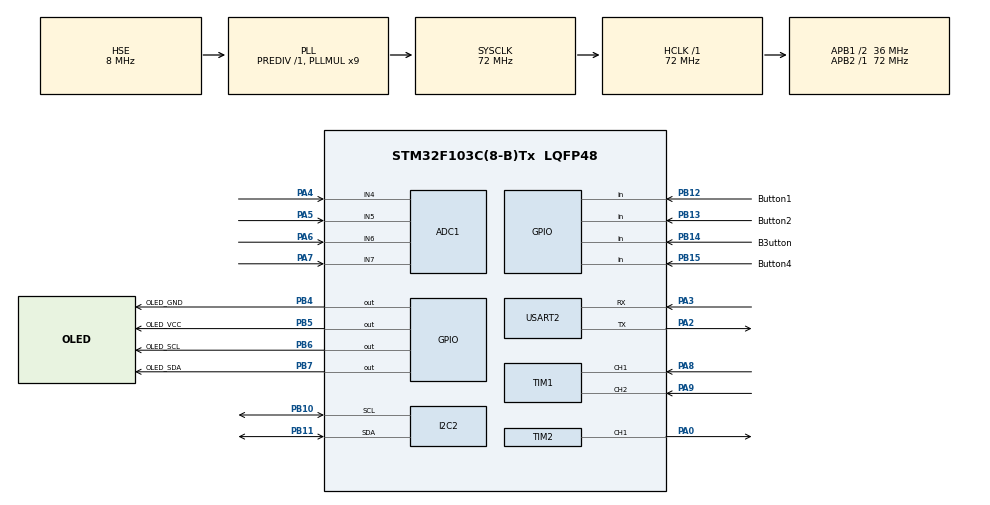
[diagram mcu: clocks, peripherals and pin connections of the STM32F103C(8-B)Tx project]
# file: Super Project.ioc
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ADC1.Channel-1\#ChannelRegularConversion=ADC_CHANNEL_4
ADC1.Channel-2\#ChannelRegularConversion=ADC_CHANNEL_5
ADC1.Channel-3\#ChannelRegularConversion=ADC_CHANNEL_6
ADC1.Channel-4\#ChannelRegularConversion=ADC_CHANNEL_7
ADC1.NbrOfConversion=4
ADC1.NbrOfConversionFlag=1
ADC1.Rank-1\#ChannelRegularConversion=1
ADC1.Rank-2\#ChannelRegularConversion=2
ADC1.Rank-3\#ChannelRegularConversion=3
ADC1.Rank-4\#ChannelRegularConversion=4
ADC1.SamplingTime-1\#ChannelRegularConversion=ADC_SAMPLETIME_1CYCLE_5
ADC1.SamplingTime-2\#ChannelRegularConversion=ADC_SAMPLETIME_1CYCLE_5
ADC1.SamplingTime-3\#ChannelRegularConversion=ADC_SAMPLETIME_1CYCLE_5
ADC1.SamplingTime-4\#ChannelRegularConversion=ADC_SAMPLETIME_1CYCLE_5
ADC1.master=1
Dma.ADC1.0.Direction=DMA_PERIPH_TO_MEMORY
Dma.ADC1.0.Instance=DMA1_Channel1
Dma.ADC1.0.MemDataAlignment=DMA_MDATAALIGN_HALFWORD
Dma.ADC1.0.MemInc=DMA_MINC_ENABLE
Dma.ADC1.0.Mode=DMA_NORMAL
Dma.ADC1.0.PeriphDataAlignment=DMA_PDATAALIGN_HALFWORD
Dma.ADC1.0.PeriphInc=DMA_PINC_DISABLE
Dma.ADC1.0.Priority=DMA_PRIORITY_LOW
Dma.Request0=ADC1
FREERTOS.BinarySemaphores01=ADCTask_sem,Dynamic,NULL,Available;MPUTask_sem,Dynamic,NULL,Available
FREERTOS.Queues01=ButtonNum_queue,16,uint16_t,0,Dynamic,NULL,NULL
FREERTOS.Tasks01=defaultTask,24,128,StartDefaultTask,Default,NULL,Dynamic,NULL,NULL;OLED_SelectTask,8,128,StartTask02,Default,NULL,Dynamic,NULL,NULL;ADC_ReadTask,24,128,StartTask03,Default,NULL,Dynamic,NULL,NULL;MPU_ReadTask,24,128,StartTask04,Default,NULL,Dynamic,NULL,NULL;Button_ReadTask,24,128,StartTask05,Default,NULL,Dynamic,NULL,NULL
FREERTOS.configTOTAL_HEAP_SIZE=4096
IWDG.Prescaler=IWDG_PRESCALER_64
Mcu.Family=STM32F1
Mcu.Name=STM32F103C(8-B)Tx
Mcu.Package=LQFP48
NVIC.DMA1_Channel1_IRQn=true\:5\:0\:false\:false\:true\:true\:false\:true\:true
NVIC.PriorityGroup=NVIC_PRIORITYGROUP_4
NVIC.TIM3_IRQn=true\:15\:0\:false\:false\:true\:false\:false\:true\:true
NVIC.TimeBase=TIM3_IRQn
NVIC.TimeBaseIP=TIM3
PA0-WKUP.Signal=S_TIM2_CH1_ETR
PA13.Mode=Serial_Wire
PA13.Signal=SYS_JTMS-SWDIO
PA14.Mode=Serial_Wire
PA14.Signal=SYS_JTCK-SWCLK
PA2.Mode=Asynchronous
PA2.Signal=USART2_TX
PA3.Mode=Asynchronous
PA3.Signal=USART2_RX
PA4.Signal=ADCx_IN4
PA5.Signal=ADCx_IN5
PA6.Signal=ADCx_IN6
PA7.Signal=ADCx_IN7
PA8.Signal=S_TIM1_CH1
PA9.Signal=S_TIM1_CH2
PB10.Mode=I2C
PB10.Signal=I2C2_SCL
PB11.Mode=I2C
PB11.Signal=I2C2_SDA
PB12.GPIO_Label=Button1
PB12.GPIO_PuPd=GPIO_PULLUP
PB12.Signal=GPIO_Input
PB13.GPIO_Label=Button2
PB13.GPIO_PuPd=GPIO_PULLUP
PB13.Signal=GPIO_Input
PB14.GPIO_Label=B3utton
PB14.GPIO_PuPd=GPIO_PULLUP
PB14.Signal=GPIO_Input
PB15.GPIO_Label=Button4
PB15.GPIO_PuPd=GPIO_PULLUP
PB15.Signal=GPIO_Input
PB4.GPIO_Label=OLED_GND
PB4.Signal=GPIO_Output
PB5.GPIO_Label=OLED_VCC
PB5.PinState=GPIO_PIN_SET
PB5.Signal=GPIO_Output
PB6.GPIO_Label=OLED_SCL
PB6.GPIO_ModeDefaultOutputPP=GPIO_MODE_OUTPUT_OD
PB6.GPIO_PuPd=GPIO_NOPULL
PB6.GPIO_Speed=GPIO_SPEED_FREQ_HIGH
PB6.PinState=GPIO_PIN_SET
PB6.Signal=GPIO_Output
PB7.GPIO_Label=OLED_SDA
PB7.GPIO_ModeDefaultOutputPP=GPIO_MODE_OUTPUT_OD
PB7.GPIO_PuPd=GPIO_NOPULL
PB7.GPIO_Speed=GPIO_SPEED_FREQ_HIGH
PB7.PinState=GPIO_PIN_SET
PB7.Signal=GPIO_Output
PC14-OSC32_IN.Mode=LSE-External-Oscillator
PC14-OSC32_IN.Signal=RCC_OSC32_IN
PC15-OSC32_OUT.Mode=LSE-External-Oscillator
PC15-OSC32_OUT.Signal=RCC_OSC32_OUT
PD0-OSC_IN.Mode=HSE-External-Oscillator
PD0-OSC_IN.Signal=RCC_OSC_IN
PD1-OSC_OUT.Mode=HSE-External-Oscillator
PD1-OSC_OUT.Signal=RCC_OSC_OUT
ProjectManager.HeapSize=0x200
ProjectManager.StackSize=0x400
ProjectManager.TargetToolchain=MDK-ARM V5
RCC.ADCPresc=RCC_ADCPCLK2_DIV6
RCC.AHBFreq_Value=72000000
RCC.APB1CLKDivider=RCC_HCLK_DIV2
RCC.APB1Freq_Value=36000000
RCC.APB1TimFreq_Value=72000000
RCC.APB2Freq_Value=72000000
RCC.APB2TimFreq_Value=72000000
RCC.HCLKFreq_Value=72000000
RCC.PLLMUL=RCC_PLL_MUL9
RCC.PLLSourceVirtual=RCC_PLLSOURCE_HSE
RCC.SYSCLKFreq_VALUE=72000000
RCC.SYSCLKSource=RCC_SYSCLKSOURCE_PLLCLK
RCC.USBFreq_Value=72000000
SH.ADCx_IN4.0=ADC1_IN4,IN4
SH.ADCx_IN5.0=ADC1_IN5,IN5
SH.ADCx_IN6.0=ADC1_IN6,IN6
SH.ADCx_IN7.0=ADC1_IN7,IN7
SH.S_TIM1_CH1.0=TIM1_CH1,Encoder_Interface
SH.S_TIM1_CH2.0=TIM1_CH2,Encoder_Interface
SH.S_TIM2_CH1_ETR.0=TIM2_CH1,PWM Generation1 CH1
TIM1.IC2Polarity=TIM_ICPOLARITY_RISING
TIM2.Channel-PWM\ Generation1\ CH1=TIM_CHANNEL_1
TIM2.Period=20000
TIM2.Prescaler=72
TIM2.Pulse-PWM\ Generation1\ CH1=500
USART2.VirtualMode=VM_ASYNC
VP_FREERTOS_VS_CMSIS_V2.Mode=CMSIS_V2
VP_IWDG_VS_IWDG.Mode=IWDG_Activate
VP_SYS_VS_tim3.Mode=TIM3
VP_TIM2_VS_ClockSourceINT.Mode=Internal
board=custom

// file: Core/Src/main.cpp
/* USER CODE BEGIN Header */
/**
  ******************************************************************************
  * @file           : main.c
  * @brief          : Main program body
  ******************************************************************************
  * @attention
  *
  * Copyright (c) 2026 STMicroelectronics.
  * All rights reserved.
  *
  * This software is licensed under terms that can be found in the LICENSE file
  * in the root directory of this software component.
  * If no LICENSE file comes with this software, it is provided AS-IS.
  *
  ******************************************************************************
  */
/* USER CODE END Header */
extern "C" {
  #include "main.h"
	#include "adc.h"
	#include "dma.h"
	#include "i2c.h"
	#include "tim.h"
	#include "usart.h"
	#include "gpio.h"
	#include "iwdg.h"
	#include "OLED.h"
	#include "IIC_Hardware.h"
	#include <stdio.h>
	#include <string.h>
	#include <math.h>
}

/* USER CODE BEGIN Includes */

//#include "OLED_Font.h"
/* USER CODE END Includes */

extern "C"{
void SystemClock_Config(void);
void MX_FREERTOS_Init(void);
}

/* USER CODE BEGIN PFP */
uint8_t usart_data[128]={'1'};
uint8_t usart_data1[128]={'1'};
uint8_t usart_reflag =0;
uint8_t usart_reflag1 =0;
extern union {
	 uint8_t OLEDPicture_8[128][8];
	 uint64_t OLEDPicture_64[128];
 }OLEDPicture_total;
extern int16_t OLED_Sample_value[128][4];
/* USER CODE END PFP */

/* USER CODE BEGIN 0 */
// 重启原因枚举
typedef enum {
    RESET_POR = 0,    // 上电复位
    RESET_PIN,        // 复位脚复位
    RESET_IWDG,       // 独立看门狗 IWDG
    RESET_WWDG,       // 窗口看门狗 WWDG
    RESET_SOFT,       // 软件复位
    RESET_UNKNOWN     // 未知
} Reset_Cause_t;

Reset_Cause_t Reset_Cause = RESET_UNKNOWN;

const char Reset_Show[6][15]={
    "RESET_POR",
    "RESET_PIN",
    "RESET_IWDG",
    "RESET_WWDG",
    "RESET_SOFT",
    "RESET_UNKNOWN"
};
// 获取复位原因（必须在 HAL 初始化之前调用！）
void Check_Reset_Reason(void)
{
    if (__HAL_RCC_GET_FLAG(RCC_FLAG_IWDGRST))
    {
        Reset_Cause = RESET_IWDG;  // IWDG 复位
    }
    else if (__HAL_RCC_GET_FLAG(RCC_FLAG_WWDGRST))
    {
        Reset_Cause = RESET_WWDG;  // WWDG 复位
    }
    else if (__HAL_RCC_GET_FLAG(RCC_FLAG_PINRST))
    {
        Reset_Cause = RESET_PIN;   // 复位按键
    }
    else if (__HAL_RCC_GET_FLAG(RCC_FLAG_PORRST))
    {
        Reset_Cause = RESET_POR;   // 上电
    }
    else if (__HAL_RCC_GET_FLAG(RCC_FLAG_SFTRST))
    {
        Reset_Cause = RESET_SOFT;  // 软件复位
    }
    else
    {
        Reset_Cause = RESET_UNKNOWN;
    }

    // 清除所有复位标志（必须清！否则下次判断错误）
    __HAL_RCC_CLEAR_RESET_FLAGS();
}

//uint32_t a=1,b=5;
//char ch_library[4][16] __attribute__((aligned(32))) = {0};//
//int fputc(int ch, FILE *f){
//  uint8_t temp[1] = {ch};
//  HAL_UART_Transmit(&huart2, temp, 1, 0);
//	if(ch=='\n'){
//		if(a!=1){
//			a=15;
//		}else{
//			a=0;
//		}
//	}else{
//		ch_library[(b-1)%4][a-1]=ch;
//		OLED_ShowChar(4,a,(char)ch);
//	}
//	if(a<15){
//		a++;
//	}else{
//		OLED_Clear();
//		b++;
//		for(a=0;a<=15;a++){
//			ch_library[(b-1)%4][a]=0;
//		}
//		a=1;
//	}
//	if(a==1){
//		OLED_ShowString(1,1,ch_library[(b)%4]);
//		OLED_ShowString(2,1,ch_library[(b+1)%4]);
//		OLED_ShowString(3,1,ch_library[(b+2)%4]);
//	}
//		HAL_Delay(50);
//    return ch;
//}

//小字版打印
const uint8_t rowsum=8;
uint32_t a=1,b=5;
char ch_library[rowsum][16] __attribute__((aligned(32))) = {0};//
int fputc(int ch, FILE *f){
  uint8_t temp[1] = {ch};
  HAL_UART_Transmit(&huart2, temp, 1, 0);
	if(ch=='\n'){
		if(a!=1){
			a=15;
		}else{
			a=0;
		}
	}else{
		ch_library[(b-1)%rowsum][a-1]=ch;
		OLED_ShowMinChar(rowsum,a,(char)ch);
	}
	if(a<15){
		a++;
	}else{
		OLED_Clear();
		b++;
		for(a=0;a<=15;a++){
			ch_library[(b-1)%rowsum][a]=0;
		}
		a=1;
	}
	if(a==1){
		for(int show_num=0;show_num<rowsum;show_num++)
		{
			OLED_ShowMinString(show_num+1,1,ch_library[(b+show_num)%rowsum]);
		}
	}
		HAL_Delay(50);
    return ch;
}

/* USER CODE END 0 */

int main(void)
{

  /* USER CODE BEGIN 1 */
	__enable_irq();//��Ϊappʱ���bootload����
  Check_Reset_Reason();
  /* USER CODE END 1 */

  /* MCU Configuration--------------------------------------------------------*/

  /* Reset of all peripherals, Initializes the Flash interface and the Systick. */
  HAL_Init();

  /* Configure the system clock */
  SystemClock_Config();

  /* Initialize all configured peripherals */
  MX_GPIO_Init();
  MX_DMA_Init();
  MX_ADC1_Init();
  MX_USART2_UART_Init();
  MX_TIM1_Init();
  MX_TIM2_Init();
  MX_I2C2_Init();
  //MX_IWDG_Init();
  /* USER CODE BEGIN 2 */
  OLED_Init();
	IIC1_Init();
  //MX_IWDG_Init();
  __HAL_RCC_PWR_CLK_ENABLE();
  lprintf("[App]:Freertos begin %d\n",HAL_GetTick());
  printf("Reset for %s \n",Reset_Show[Reset_Cause]);
  /* USER CODE END 2 */

  /* Init scheduler */
  //osKernelInitialize();  /* Call init function for freertos objects (in cmsis_os2.c) */
  //MX_FREERTOS_Init();

  /* Start scheduler */
  //osKernelStart();

  /* We should never get here as control is now taken by the scheduler */

  /* Infinite loop */
  /* USER CODE BEGIN WHILE */
	//OLED_Clear();
	int a=32;
	int a_a=1;
	int b=0;
	int b_b=6;
	int x=1,y=1,angle=0,middle=0;
	int x1_r=0,y1_r=0,x2_r=0,y2_r=0,x3_r=0,y3_r=0,x4_r=0,y4_r=0;
	int fps,count;
	int biankuang=4;
	int dsb =10;
	uint16_t adc_num[4]={0};
	int h,m,s=30;
//	for(int i=0;i<314;i++)
//	{
//		OLED_Sample_value[i]=(int16_t)(sin(i*0.1)*y);
//	}
	uint8_t z=0;
	//HAL_ADC_Start_DMA(&hadc1,(uint32_t *)OLED_Sample_value[0],4);
  while (1)
  {
		HAL_ADC_Start_DMA(&hadc1,(uint32_t *)OLED_Sample_value[z++],4);
		memset(OLEDPicture_total.OLEDPicture_8[0],0x00,1024);
		//OLED_AMPDrawARatateWord(16,16,b,'B',OLED_White,1);
//		OLED_DrawARatateString(x,y,angle,(char *)usart_data1+1,OLED_White);
//		rotate_point(x+4*strlen((char *)usart_data1+1),y+8,angle,x,y,&x1_r,&y1_r);
//		rotate_point(x+4*strlen((char *)usart_data1+1),y+8,angle,x,y+16,&x2_r,&y2_r);
//		rotate_point(x+4*strlen((char *)usart_data1+1),y+8,angle,x+8*strlen((char *)usart_data1+1),y+16,&x3_r,&y3_r);
//		rotate_point(x+4*strlen((char *)usart_data1+1),y+8,angle,x+8*strlen((char *)usart_data1+1),y,&x4_r,&y4_r);
//		OLED_DrawAquard(x1_r,y1_r,x2_r,y2_r,x3_r,y3_r,x4_r,y4_r,OLED_Contr);
		OLED_DrawALine(x,64,32,0,OLED_White);
		OLEDMin_DrawANum(0,56,fps,2,OLED_White);
		OLED_DrawAClock(0,m,s);
		//HAL_ADC_Start_DMA(&hadc1,(uint32_t *)OLED_Sample_value[0],512);
//		OLED_DrawAquard(0,0,0,64,128,64,128,0,OLED_White);
//		OLED_DrawAquard(0,0,0,0,128,64,128,64,OLED_White);
//		OLED_DrawAquard(0+biankuang,0+2*biankuang,0+biankuang,64-biankuang,128-biankuang,64-biankuang,128-biankuang,0+2*biankuang,OLED_Black);
//		OLED_DrawAquard(0,0,0,0,128,64,128,64,OLED_White);
//		OLED_DrawAquard(8,0,9,0,9,64,9,64,OLED_White);
//		for(int i=0;i<5;i++)
//		{
//			OLED_DrawAquard(8,8+i*16,9,9+i*16,128,9+i*16,128,8+i*16,OLED_White);
//		}
//
		//OLED_DrawAquard(8,24,9,25,128,25,128,24,OLED_White);

//		OLED_DrawARound(64,36,20,0,OLED_White);
//		OLED_DrawAPolygon(64,36,4,30,-90,OLED_White);
//		OLED_DrawARound(64,36,20,19,OLED_White);
//		OLED_DrawARound(64,36,30,29,OLED_White);
		//OLED_DrawAString(32,48,"Warrning",OLED_White);
//		OLEDMin_DrawARatateWord(60,9,90,'M',OLED_Contr);
//		OLEDMin_DrawARatateWord(44,16,40,'B',OLED_Contr);
//		OLEDMin_DrawARatateWord(78,18,140,'W',OLED_Contr);

//		OLED_DrawARound(32,40,4,OLED_White);
//		OLED_DrawARound(96,40,4,OLED_White);
//		OLED_DrawAquard(32,36,
//										96,36,
//										96,44,
//										32,44,OLED_White);

//		OLED_DrawARound(32,40,2,OLED_Black);
//		OLED_DrawARound(96,40,2,OLED_Black);
//		OLED_DrawAquard(32,38,
//										96,38,
//										96,42,
//										32,42,OLED_Black);

//		OLED_DrawARound(a,40,2,OLED_White);
//		OLED_DrawARound(96,40,2,OLED_White);
//		OLED_DrawAquard(a ,38,
//										96,38,
//										96,42,
//										a ,42,OLED_White);
		//OLED_DrawAAixs();

		fps=1000/(HAL_GetTick()-count);
		count=HAL_GetTick();

		OLED_ShowPicture();
		if(usart_data1[0]=='t')
		{
			if(y>0)
			y--;
		}else if(usart_data1[0]=='l'){
			if(x>0)
				x=(x+31)%64;
		}else if(usart_data1[0]=='m'){

		}else if(usart_data1[0]=='r'){
				x=(x+1)%64;
		}else if(usart_data1[0]=='b'){
			if(y<20)
				y++;
		}else if(usart_data1[0]=='a'){
			angle++;
		}else if(usart_data1[0]=='c'){
			angle--;
		}
		h=(h+1)%12;
		m=(m+1)%60;
		s=(s+1)%60;
		HAL_Delay(500);

		usart_data1[0]=0;
		if(a>96||a<32)
		{
			a_a=-a_a;
		}
		a+=a_a;
		if(b>20||b<0)
		{
			b_b=-b_b;
		}
		b+=b_b;
		if(usart_reflag==1)
    {
      memset(usart_data1,0x00,128);
      usart_reflag=0;
    }
    else if(usart_reflag1==1)
    {
      memcpy(usart_data1,usart_data,128);
      memset(usart_data,0x00,128);
      usart_reflag1=0;
    }
		//HAL_Delay(50);
  }
}

extern "C"{

void SystemClock_Config(void)
{
  RCC_OscInitTypeDef RCC_OscInitStruct = {0};
  RCC_ClkInitTypeDef RCC_ClkInitStruct = {0};
  RCC_PeriphCLKInitTypeDef PeriphClkInit = {0};

  /** Initializes the RCC Oscillators according to the specified parameters
  * in the RCC_OscInitTypeDef structure.
  */
  RCC_OscInitStruct.OscillatorType = RCC_OSCILLATORTYPE_LSI|RCC_OSCILLATORTYPE_HSE;
  RCC_OscInitStruct.HSEState = RCC_HSE_ON;
  RCC_OscInitStruct.HSEPredivValue = RCC_HSE_PREDIV_DIV1;
  RCC_OscInitStruct.HSIState = RCC_HSI_ON;
  RCC_OscInitStruct.LSIState = RCC_LSI_ON;
  RCC_OscInitStruct.PLL.PLLState = RCC_PLL_ON;
  RCC_OscInitStruct.PLL.PLLSource = RCC_PLLSOURCE_HSE;
  RCC_OscInitStruct.PLL.PLLMUL = RCC_PLL_MUL9;
  if (HAL_RCC_OscConfig(&RCC_OscInitStruct) != HAL_OK)
  {
    Error_Handler();
  }

  /** Initializes the CPU, AHB and APB buses clocks
  */
  RCC_ClkInitStruct.ClockType = RCC_CLOCKTYPE_HCLK|RCC_CLOCKTYPE_SYSCLK
                              |RCC_CLOCKTYPE_PCLK1|RCC_CLOCKTYPE_PCLK2;
  RCC_ClkInitStruct.SYSCLKSource = RCC_SYSCLKSOURCE_PLLCLK;
  RCC_ClkInitStruct.AHBCLKDivider = RCC_SYSCLK_DIV1;
  RCC_ClkInitStruct.APB1CLKDivider = RCC_HCLK_DIV2;
  RCC_ClkInitStruct.APB2CLKDivider = RCC_HCLK_DIV1;

  if (HAL_RCC_ClockConfig(&RCC_ClkInitStruct, FLASH_LATENCY_2) != HAL_OK)
  {
    Error_Handler();
  }
  PeriphClkInit.PeriphClockSelection = RCC_PERIPHCLK_ADC;
  PeriphClkInit.AdcClockSelection = RCC_ADCPCLK2_DIV6;
  if (HAL_RCCEx_PeriphCLKConfig(&PeriphClkInit) != HAL_OK)
  {
    Error_Handler();
  }
}

/* USER CODE BEGIN 4 */

void EXTI0_IRQHandler(void)
{
    HAL_GPIO_EXTI_IRQHandler(GPIO_PIN_0);
}

// IWDG_HandleTypeDef IWDGHandler;
// void MX_IWDG (void)
// {
//   IWDGHandler.Instance=IWDG;
//   IWDGHandler.Init.Prescaler=IWDG_PRESCALER_64;
//   IWDGHandler.Init.Reload=4095;
//   if (HAL_IWDG_Init(&IWDGHandler) != HAL_OK)
//   {
//     Error_Handler();
//   }
// }

void HAL_GPIO_EXTI_Callback(uint16_t GPIO_Pin)
{
    if(GPIO_Pin == GPIO_PIN_0)
    {
        //HAL_NVIC_SystemReset();
    }
}
extern DMA_HandleTypeDef hdma_uart2;
//uint8_t usart_data[128]={0};

uint8_t usart_Echo=91;
void USART2_IRQHandler(void)
{
  if(__HAL_UART_GET_FLAG(&huart2,UART_FLAG_RXNE)!=RESET)
  {
    usart_reflag=1;
    __HAL_UART_CLEAR_FLAG(&huart2, UART_FLAG_RXNE);
    __HAL_UART_DISABLE_IT(&huart2,UART_IT_RXNE);
    uint8_t temp = huart2.Instance->DR;
    usart_data[0]=temp;
    HAL_UART_Receive_DMA(&huart2,usart_data+1,127);
    __HAL_UART_ENABLE_IT(&huart2,UART_IT_IDLE);

  }
  if(__HAL_UART_GET_FLAG(&huart2,UART_FLAG_IDLE)!=0)
  {
    usart_reflag1=1;
		HAL_UART_AbortReceive(&huart2);
		__HAL_UART_CLEAR_IDLEFLAG(&huart2);
    __HAL_UART_DISABLE_IT(&huart2,UART_IT_IDLE);
    HAL_UART_Transmit(&huart2,&usart_Echo,1,1);
    __HAL_UART_ENABLE_IT(&huart2,UART_IT_RXNE);
  }
  //HAL_UART_IRQHandler(&huart2);
}

void DMA1_Channel6_IRQHandler(void)
{
  /* USER CODE BEGIN DMA1_Channel1_IRQn 0 */

  /* USER CODE END DMA1_Channel1_IRQn 0 */
  /* USER CODE BEGIN DMA1_Channel1_IRQn 1 */

  /* USER CODE END DMA1_Channel1_IRQn 1 */
}

/* USER CODE END 4 */

void HAL_TIM_PeriodElapsedCallback(TIM_HandleTypeDef *htim)
{
  if (htim->Instance == TIM3)
  {
    HAL_IncTick();
  }
}

void Error_Handler(void)
{
  /* USER CODE BEGIN Error_Handler_Debug */
  /* User can add his own implementation to report the HAL error return state */
	printf("Error");
  __disable_irq();
  while (1)
  {
  }
  /* USER CODE END Error_Handler_Debug */
}
}
